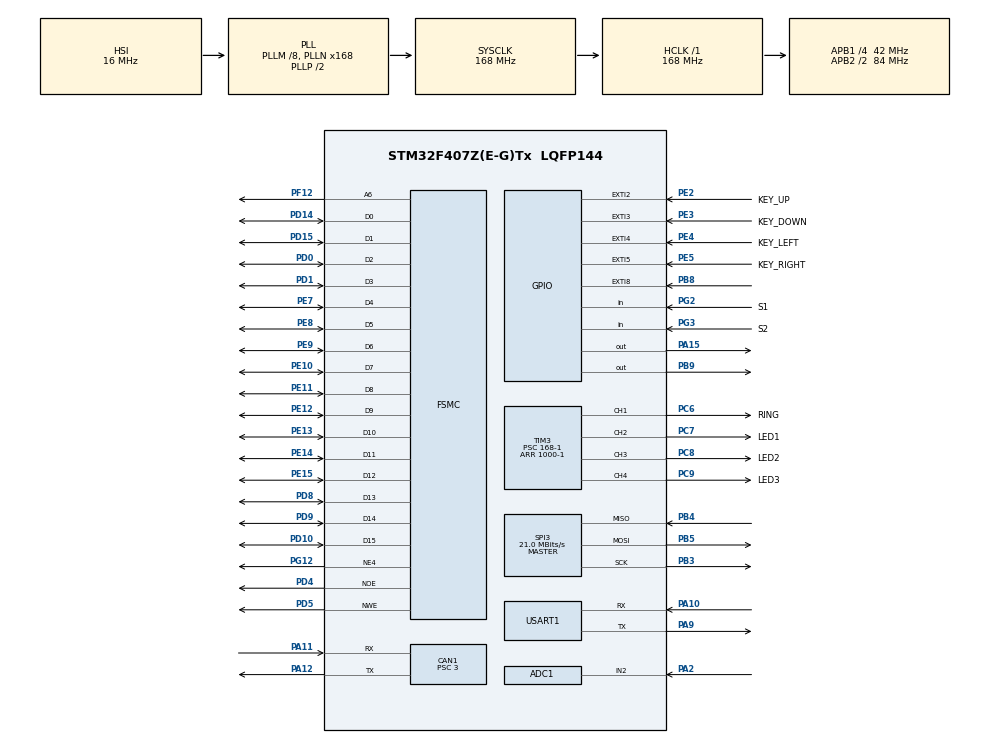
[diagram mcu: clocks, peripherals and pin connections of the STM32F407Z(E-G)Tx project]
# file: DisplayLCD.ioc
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ADC1.Channel-1\#ChannelRegularConversion=ADC_CHANNEL_2
ADC1.ContinuousConvMode=ENABLE
ADC1.DMAContinuousRequests=ENABLE
ADC1.NbrOfConversion=1
ADC1.NbrOfConversionFlag=1
ADC1.Rank-1\#ChannelRegularConversion=1
ADC1.SamplingTime-1\#ChannelRegularConversion=ADC_SAMPLETIME_3CYCLES
ADC1.ScanConvMode=ENABLE
ADC1.master=1
CAN1.ABOM=ENABLE
CAN1.BS1=CAN_BS1_9TQ
CAN1.BS2=CAN_BS2_4TQ
CAN1.CalculateTimeQuantum=71.42857142857143
CAN1.Prescaler=3
CAN1.TXFP=ENABLE
Dma.ADC1.0.Direction=DMA_PERIPH_TO_MEMORY
Dma.ADC1.0.FIFOMode=DMA_FIFOMODE_DISABLE
Dma.ADC1.0.Instance=DMA2_Stream0
Dma.ADC1.0.MemDataAlignment=DMA_MDATAALIGN_HALFWORD
Dma.ADC1.0.MemInc=DMA_MINC_ENABLE
Dma.ADC1.0.Mode=DMA_NORMAL
Dma.ADC1.0.PeriphDataAlignment=DMA_PDATAALIGN_HALFWORD
Dma.ADC1.0.PeriphInc=DMA_PINC_DISABLE
Dma.ADC1.0.Priority=DMA_PRIORITY_HIGH
Dma.Request0=ADC1
Dma.Request1=USART1_RX
Dma.Request2=USART1_TX
Dma.USART1_RX.1.Direction=DMA_PERIPH_TO_MEMORY
Dma.USART1_RX.1.FIFOMode=DMA_FIFOMODE_DISABLE
Dma.USART1_RX.1.Instance=DMA2_Stream2
Dma.USART1_RX.1.MemDataAlignment=DMA_MDATAALIGN_BYTE
Dma.USART1_RX.1.MemInc=DMA_MINC_ENABLE
Dma.USART1_RX.1.Mode=DMA_CIRCULAR
Dma.USART1_RX.1.PeriphDataAlignment=DMA_PDATAALIGN_BYTE
Dma.USART1_RX.1.PeriphInc=DMA_PINC_DISABLE
Dma.USART1_RX.1.Priority=DMA_PRIORITY_LOW
Dma.USART1_TX.2.Direction=DMA_MEMORY_TO_PERIPH
Dma.USART1_TX.2.FIFOMode=DMA_FIFOMODE_DISABLE
Dma.USART1_TX.2.Instance=DMA2_Stream7
Dma.USART1_TX.2.MemDataAlignment=DMA_MDATAALIGN_BYTE
Dma.USART1_TX.2.MemInc=DMA_MINC_ENABLE
Dma.USART1_TX.2.Mode=DMA_NORMAL
Dma.USART1_TX.2.PeriphDataAlignment=DMA_PDATAALIGN_BYTE
Dma.USART1_TX.2.PeriphInc=DMA_PINC_DISABLE
Dma.USART1_TX.2.Priority=DMA_PRIORITY_LOW
FSMC.AddressSetupTime1=9
FSMC.BusTurnAroundDuration1=0
FSMC.DataSetupTime1=31
FSMC.ExtendedAddressSetupTime1=8
FSMC.ExtendedBusTurnAroundDuration1=0
FSMC.ExtendedDataSetupTime1=9
FSMC.ExtendedMode1=FSMC_EXTENDED_MODE_ENABLE
Mcu.Family=STM32F4
Mcu.Name=STM32F407Z(E-G)Tx
Mcu.Package=LQFP144
NVIC.ADC_IRQn=true\:4\:0\:true\:false\:true\:true\:true
NVIC.CAN1_RX0_IRQn=true\:1\:0\:true\:false\:true\:true\:true
NVIC.CAN1_RX1_IRQn=true\:1\:0\:true\:false\:true\:true\:true
NVIC.CAN1_SCE_IRQn=true\:0\:0\:false\:false\:true\:true\:true
NVIC.DMA2_Stream0_IRQn=true\:0\:0\:false\:false\:true\:false\:true
NVIC.DMA2_Stream2_IRQn=true\:0\:0\:false\:false\:true\:false\:true
NVIC.DMA2_Stream7_IRQn=true\:0\:0\:false\:false\:true\:false\:true
NVIC.EXTI2_IRQn=true\:2\:0\:true\:false\:true\:true\:true
NVIC.EXTI3_IRQn=true\:2\:0\:true\:false\:true\:true\:true
NVIC.EXTI4_IRQn=true\:2\:0\:true\:false\:true\:true\:true
NVIC.EXTI9_5_IRQn=true\:2\:0\:true\:false\:true\:true\:true
NVIC.PriorityGroup=NVIC_PRIORITYGROUP_4
NVIC.USART1_IRQn=true\:3\:0\:true\:false\:true\:true\:true
PA10.Mode=Asynchronous
PA10.Signal=USART1_RX
PA11.Mode=Master
PA11.Signal=CAN1_RX
PA12.Mode=Master
PA12.Signal=CAN1_TX
PA15.GPIO_Speed=GPIO_SPEED_FREQ_LOW
PA15.Signal=GPIO_Output
PA2.Signal=ADCx_IN2
PA9.Mode=Asynchronous
PA9.Signal=USART1_TX
PB3.Mode=Full_Duplex_Master
PB3.Signal=SPI3_SCK
PB4.Mode=Full_Duplex_Master
PB4.Signal=SPI3_MISO
PB5.Mode=Full_Duplex_Master
PB5.Signal=SPI3_MOSI
PB8.GPIO_ModeDefaultEXTI=GPIO_MODE_IT_FALLING
PB8.GPIO_PuPd=GPIO_NOPULL
PB8.Signal=GPXTI8
PB9.Signal=GPIO_Output
PC6.GPIO_Label=RING
PC6.Signal=S_TIM3_CH1
PC7.GPIO_Label=LED1
PC7.Signal=S_TIM3_CH2
PC8.GPIO_Label=LED2
PC8.Signal=S_TIM3_CH3
PC9.GPIO_Label=LED3
PC9.Signal=S_TIM3_CH4
PD0.Signal=FSMC_D2_DA2
PD1.Signal=FSMC_D3_DA3
PD10.Signal=FSMC_D15_DA15
PD14.Signal=FSMC_D0_DA0
PD15.Signal=FSMC_D1_DA1
PD4.Signal=FSMC_NOE
PD5.Signal=FSMC_NWE
PD8.Signal=FSMC_D13_DA13
PD9.Signal=FSMC_D14_DA14
PE10.Signal=FSMC_D7_DA7
PE11.Signal=FSMC_D8_DA8
PE12.Signal=FSMC_D9_DA9
PE13.Signal=FSMC_D10_DA10
PE14.Signal=FSMC_D11_DA11
PE15.Signal=FSMC_D12_DA12
PE2.GPIO_Label=KEY_UP
PE2.GPIO_ModeDefaultEXTI=GPIO_MODE_IT_FALLING
PE2.GPIO_PuPd=GPIO_PULLUP
PE2.Signal=GPXTI2
PE3.GPIO_Label=KEY_DOWN
PE3.GPIO_ModeDefaultEXTI=GPIO_MODE_IT_FALLING
PE3.GPIO_PuPd=GPIO_PULLUP
PE3.Signal=GPXTI3
PE4.GPIO_Label=KEY_LEFT
PE4.GPIO_ModeDefaultEXTI=GPIO_MODE_IT_FALLING
PE4.GPIO_PuPd=GPIO_PULLUP
PE4.Signal=GPXTI4
PE5.GPIO_Label=KEY_RIGHT
PE5.GPIO_ModeDefaultEXTI=GPIO_MODE_IT_FALLING
PE5.GPIO_PuPd=GPIO_PULLUP
PE5.Signal=GPXTI5
PE7.Signal=FSMC_D4_DA4
PE8.Signal=FSMC_D5_DA5
PE9.Signal=FSMC_D6_DA6
PF12.Signal=FSMC_A6
PG12.Mode=NorPsramChipSelect4_1
PG12.Signal=FSMC_NE4
PG2.GPIO_Label=S1
PG2.GPIO_PuPd=GPIO_PULLUP
PG2.Signal=GPIO_Input
PG3.GPIO_Label=S2
PG3.GPIO_PuPd=GPIO_PULLUP
PG3.Signal=GPIO_Input
PH0-OSC_IN.Mode=HSE-External-Oscillator
PH0-OSC_IN.Signal=RCC_OSC_IN
PH1-OSC_OUT.Mode=HSE-External-Oscillator
PH1-OSC_OUT.Signal=RCC_OSC_OUT
ProjectManager.HeapSize=0x1000
ProjectManager.StackSize=0x1000
ProjectManager.TargetToolchain=EWARM V8
RCC.48MHZClocksFreq_Value=84000000
RCC.AHBFreq_Value=168000000
RCC.APB1CLKDivider=RCC_HCLK_DIV4
RCC.APB1Freq_Value=42000000
RCC.APB1TimFreq_Value=84000000
RCC.APB2CLKDivider=RCC_HCLK_DIV2
RCC.APB2Freq_Value=84000000
RCC.APB2TimFreq_Value=168000000
RCC.CortexFreq_Value=168000000
RCC.HCLKFreq_Value=168000000
RCC.HSE_VALUE=25000000
RCC.HSI_VALUE=16000000
RCC.LSE_VALUE=32768
RCC.PLLM=8
RCC.PLLN=168
RCC.SYSCLKFreq_VALUE=168000000
RCC.SYSCLKSource=RCC_SYSCLKSOURCE_PLLCLK
RCC.VCOOutputFreq_Value=336000000
SH.ADCx_IN2.0=ADC1_IN2,IN2
SH.FSMC_A6.0=FSMC_A6,A6_1
SH.FSMC_D0_DA0.0=FSMC_D0,16b-d1
SH.FSMC_D10_DA10.0=FSMC_D10,16b-d1
SH.FSMC_D11_DA11.0=FSMC_D11,16b-d1
SH.FSMC_D12_DA12.0=FSMC_D12,16b-d1
SH.FSMC_D13_DA13.0=FSMC_D13,16b-d1
SH.FSMC_D14_DA14.0=FSMC_D14,16b-d1
SH.FSMC_D15_DA15.0=FSMC_D15,16b-d1
SH.FSMC_D1_DA1.0=FSMC_D1,16b-d1
SH.FSMC_D2_DA2.0=FSMC_D2,16b-d1
SH.FSMC_D3_DA3.0=FSMC_D3,16b-d1
SH.FSMC_D4_DA4.0=FSMC_D4,16b-d1
SH.FSMC_D5_DA5.0=FSMC_D5,16b-d1
SH.FSMC_D6_DA6.0=FSMC_D6,16b-d1
SH.FSMC_D7_DA7.0=FSMC_D7,16b-d1
SH.FSMC_D8_DA8.0=FSMC_D8,16b-d1
SH.FSMC_D9_DA9.0=FSMC_D9,16b-d1
SH.FSMC_NOE.0=FSMC_NOE,Lcd1
SH.FSMC_NWE.0=FSMC_NWE,Lcd1
SH.S_TIM3_CH1.0=TIM3_CH1,PWM Generation1 CH1
SH.S_TIM3_CH2.0=TIM3_CH2,PWM Generation2 CH2
SH.S_TIM3_CH3.0=TIM3_CH3,PWM Generation3 CH3
SH.S_TIM3_CH4.0=TIM3_CH4,PWM Generation4 CH4
SPI3.CalculateBaudRate=21.0 MBits/s
SPI3.Direction=SPI_DIRECTION_2LINES
SPI3.Mode=SPI_MODE_MASTER
SPI3.VirtualType=VM_MASTER
TIM3.Channel-PWM\ Generation1\ CH1=TIM_CHANNEL_1
TIM3.Channel-PWM\ Generation2\ CH2=TIM_CHANNEL_2
TIM3.Channel-PWM\ Generation3\ CH3=TIM_CHANNEL_3
TIM3.Channel-PWM\ Generation4\ CH4=TIM_CHANNEL_4
TIM3.Period=1000-1
TIM3.Prescaler=168-1
TIM3.Pulse-PWM\ Generation1\ CH1=0
TIM3.Pulse-PWM\ Generation2\ CH2=500
TIM3.Pulse-PWM\ Generation3\ CH3=500
TIM3.Pulse-PWM\ Generation4\ CH4=500
USART1.VirtualMode=VM_ASYNC
VP_CRC_VS_CRC.Mode=CRC_Activate
VP_TIM3_VS_ClockSourceINT.Mode=Internal
board=custom

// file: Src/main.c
/* USER CODE BEGIN Header */
/**
  ******************************************************************************
  * @file           : main.c
  * @brief          : Main program body
  ******************************************************************************
  * @attention
  *
  * <h2><center>&copy; Copyright (c) 2019 STMicroelectronics.
  * All rights reserved.</center></h2>
  *
  * This software component is licensed by ST under BSD 3-Clause license,
  * the "License"; You may not use this file except in compliance with the
  * License. You may obtain a copy of the License at:
  *                        opensource.org/licenses/BSD-3-Clause
  *
  ******************************************************************************
  */
/* USER CODE END Header */

#include "main.h"
#include "adc.h"
#include "can.h"
#include "crc.h"
#include "dma.h"
#include "spi.h"
#include "tim.h"
#include "usart.h"
#include "gpio.h"
#include "fsmc.h"

/* USER CODE BEGIN Includes */
#include "simplelib.h"
#include "nrf24l01.h"
#include "nrf_comm.h"
#include "ILI93xx.h"
#include "GUI.h"
#include "GUI_Frame.h"
#include "ledpwm.h"
#include "Lcd_Top.h"
/* USER CODE END Includes */

/* USER CODE BEGIN PD */
Flag flag={0};
uint32_t ADC_Value;
float NRF_Data[10]={0};
/* USER CODE END PD */

void SystemClock_Config(void);

int main(void)
{

  /* MCU Configuration--------------------------------------------------------*/

  /* Reset of all peripherals, Initializes the Flash interface and the Systick. */
  HAL_Init();

  /* Configure the system clock */
  SystemClock_Config();

  /* Initialize all configured peripherals */
  MX_GPIO_Init();
  MX_DMA_Init();
  MX_CAN1_Init();
  MX_CRC_Init();
  MX_FSMC_Init();
  MX_USART1_UART_Init();
  MX_ADC1_Init();
  MX_TIM3_Init();
  MX_SPI3_Init();
  /* USER CODE BEGIN 2 */
  simplelib_init(&huart1, &hcan1);
  GUI_Init();

  // uint8_t temp_addr[5] = {48,51,51,48,20};
  // nrf_set_rx_addr(NRF_PIPE_0, temp_addr, 5);
  // nrf_set_tx_addr(temp_addr, 5);
  // nrf_init(NULL);

  HAL_TIM_PWM_Start(&htim3, TIM_CHANNEL_1);
  HAL_TIM_PWM_Start(&htim3, TIM_CHANNEL_2);
  HAL_TIM_PWM_Start(&htim3, TIM_CHANNEL_3);
  HAL_TIM_PWM_Start(&htim3, TIM_CHANNEL_4);
  HAL_ADC_Start_DMA(&hadc1, (uint32_t*)&ADC_Value, 1);

  /* USER CODE END 2 */

  /* Infinite loop */
  /* USER CODE BEGIN WHILE */
  while (1)
  {
    simplelib_run();
    LED_main();
    // nrf_main();
    Lcd_Top_main();

    /* USER CODE END WHILE */

  }
}

void SystemClock_Config(void)
{
  RCC_OscInitTypeDef RCC_OscInitStruct = {0};
  RCC_ClkInitTypeDef RCC_ClkInitStruct = {0};

  /** Configure the main internal regulator output voltage
  */
  __HAL_RCC_PWR_CLK_ENABLE();
  __HAL_PWR_VOLTAGESCALING_CONFIG(PWR_REGULATOR_VOLTAGE_SCALE1);
  /** Initializes the CPU, AHB and APB busses clocks
  */
  RCC_OscInitStruct.OscillatorType = RCC_OSCILLATORTYPE_HSI;
  RCC_OscInitStruct.HSIState = RCC_HSI_ON;
  RCC_OscInitStruct.HSICalibrationValue = RCC_HSICALIBRATION_DEFAULT;
  RCC_OscInitStruct.PLL.PLLState = RCC_PLL_ON;
  RCC_OscInitStruct.PLL.PLLSource = RCC_PLLSOURCE_HSI;
  RCC_OscInitStruct.PLL.PLLM = 8;
  RCC_OscInitStruct.PLL.PLLN = 168;
  RCC_OscInitStruct.PLL.PLLP = RCC_PLLP_DIV2;
  RCC_OscInitStruct.PLL.PLLQ = 4;
  if (HAL_RCC_OscConfig(&RCC_OscInitStruct) != HAL_OK)
  {
    Error_Handler();
  }
  /** Initializes the CPU, AHB and APB busses clocks
  */
  RCC_ClkInitStruct.ClockType = RCC_CLOCKTYPE_HCLK|RCC_CLOCKTYPE_SYSCLK
                              |RCC_CLOCKTYPE_PCLK1|RCC_CLOCKTYPE_PCLK2;
  RCC_ClkInitStruct.SYSCLKSource = RCC_SYSCLKSOURCE_PLLCLK;
  RCC_ClkInitStruct.AHBCLKDivider = RCC_SYSCLK_DIV1;
  RCC_ClkInitStruct.APB1CLKDivider = RCC_HCLK_DIV4;
  RCC_ClkInitStruct.APB2CLKDivider = RCC_HCLK_DIV2;

  if (HAL_RCC_ClockConfig(&RCC_ClkInitStruct, FLASH_LATENCY_5) != HAL_OK)
  {
    Error_Handler();
  }
}

/* USER CODE BEGIN 4 */

void inc(void)
{
  /* USER CODE BEGIN SysTick_IRQn 0 */
  time_1ms_cnt++;
  if(time_1ms_cnt % 5 == 0)
    {
      flag.fivems = 1;
    }

  if(time_1ms_cnt % 50 == 0)
    {
      flag.fiftyms = 1;
      lcd_flag = 1;
    }
  if(time_1ms_cnt % 100 == 0)
    {
      flag.hundms =1;
    }
  if(time_1ms_cnt % 500 == 0)
    {
      flag.halfs =1;
    }
  if(time_1ms_cnt % 1000 == 0)
    {
      flag.ones =1;
      time_1s_flag = 1;
    }
  if(time_1ms_cnt >= 60000){
      time_1ms_cnt = 0;
    }
  /* USER CODE END SysTick_IRQn 0 */
  HAL_IncTick();
}
// void nrf_spi_receive_callback(uint8_t *data, int len)
// {
//     //uint32_t can_id = *((uint32_t*)(data));
//     can_msg *msg = (can_msg*)(data+4);
//     if( msg->in[0]>=0 && msg->in[0]<=9 )
//     {
//       NRF_Data[msg->in[0]]=msg->fl[1];
//     }
// }

/* USER CODE END 4 */

void Error_Handler(void)
{
  /* USER CODE BEGIN Error_Handler_Debug */
  /* User can add his own implementation to report the HAL error return state */
  TIM3->CCR3 = 500;
  /* USER CODE END Error_Handler_Debug */
}

/************************ (C) COPYRIGHT STMicroelectronics *****END OF FILE****/
